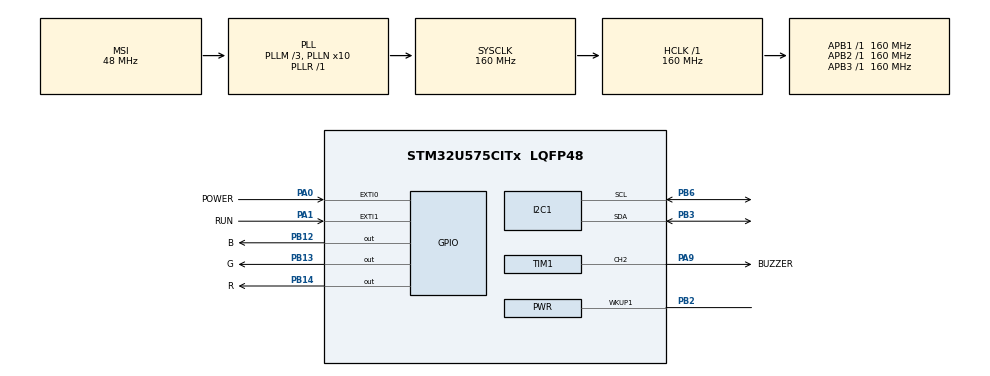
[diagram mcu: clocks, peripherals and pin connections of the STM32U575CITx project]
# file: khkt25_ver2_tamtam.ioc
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CORTEX_M33_NS.userName=CORTEX_M33
I2C1.Timing=0x30909DEC
Mcu.Family=STM32U5
Mcu.Name=STM32U575CITx
Mcu.Package=LQFP48
NVIC.EXTI0_IRQn=true\:0\:0\:false\:false\:true\:true\:true\:true
NVIC.EXTI1_IRQn=true\:0\:0\:false\:false\:true\:true\:true\:true
NVIC.PriorityGroup=NVIC_PRIORITYGROUP_4
PA0.GPIO_Label=POWER
PA0.GPIO_ModeDefaultEXTI=GPIO_MODE_IT_FALLING
PA0.GPIO_PuPd=GPIO_PULLDOWN
PA0.Signal=GPXTI0
PA1.GPIO_Label=RUN
PA1.GPIO_ModeDefaultEXTI=GPIO_MODE_IT_RISING_FALLING
PA1.GPIO_PuPd=GPIO_PULLDOWN
PA1.Signal=GPXTI1
PA13\ (JTMS/SWDIO).Mode=Serial_Wire
PA13\ (JTMS/SWDIO).Signal=DEBUG_JTMS-SWDIO
PA14\ (JTCK/SWCLK).Mode=Serial_Wire
PA14\ (JTCK/SWCLK).Signal=DEBUG_JTCK-SWCLK
PA9.GPIO_Label=BUZZER
PA9.Signal=S_TIM1_CH2
PB12.GPIO_Label=B
PB12.Signal=GPIO_Output
PB13.GPIO_Label=G
PB13.Signal=GPIO_Output
PB14.GPIO_Label=R
PB14.Signal=GPIO_Output
PB2.Mode=WakeUp1
PB2.Signal=PWR_WKUP1
PB3\ (JTDO/TRACESWO).GPIO_Pu=GPIO_PULLUP
PB3\ (JTDO/TRACESWO).Mode=I2C
PB3\ (JTDO/TRACESWO).Signal=I2C1_SDA
PB6.GPIO_Pu=GPIO_PULLUP
PB6.Mode=I2C
PB6.Signal=I2C1_SCL
PH0-OSC_IN\ (PH0).Mode=HSE-External-Oscillator
PH0-OSC_IN\ (PH0).Signal=RCC_OSC_IN
PH1-OSC_OUT\ (PH1).Mode=HSE-External-Oscillator
PH1-OSC_OUT\ (PH1).Signal=RCC_OSC_OUT
ProjectManager.HeapSize=0x200
ProjectManager.StackSize=0x400
ProjectManager.TargetToolchain=STM32CubeIDE
RCC.ADCCLockSelection=RCC_ADCDACCLKSOURCE_PLL2
RCC.ADCFreq_Value=160000000
RCC.AHBFreq_Value=160000000
RCC.APB1Freq_Value=160000000
RCC.APB1TimFreq_Value=160000000
RCC.APB2Freq_Value=160000000
RCC.APB2TimFreq_Value=160000000
RCC.APB3Freq_Value=160000000
RCC.CortexFreq_Value=160000000
RCC.EPOD_VALUE=48000000
RCC.HCLKFreq_Value=160000000
RCC.HSE_VALUE=16000000
RCC.HSI48_VALUE=48000000
RCC.HSI_VALUE=16000000
RCC.LSE_VALUE=32768
RCC.LSIDIV_VALUE=32000
RCC.MSIClockRange=RCC_MSIRANGE_0
RCC.MSI_VALUE=48000000
RCC.PLL1R=1
RCC.PLL2M=3
RCC.PLL2N=20
RCC.PLLM=3
RCC.PLLN=10
RCC.PWR_Regulator_Voltage_Scale=PWR_REGULATOR_VOLTAGE_SCALE1
RCC.SYSCLKFreq_VALUE=160000000
RCC.SYSCLKSource=RCC_SYSCLKSOURCE_PLLCLK
RCC.USBFreq_Value=48000000
RCC.VCOOutputFreq_Value=160000000
SH.S_TIM1_CH2.0=TIM1_CH2,PWM Generation2 CH2
STMicroelectronics.X-CUBE-AI.10.2.0.ActivationBufferSizeList=2268
STMicroelectronics.X-CUBE-AI.10.2.0.ActivationBuffers=pool0
STMicroelectronics.X-CUBE-AI.10.2.0.ActivationNames=pool0
STMicroelectronics.X-CUBE-AI.10.2.0.ActivationSizes=AI_NETWORKK_DATA_ACTIVATION_1_SIZE
STMicroelectronics.X-CUBE-AI.10.2.0.HeapSize=0x800
STMicroelectronics.X-CUBE-AI.10.2.0.InternalRamActivationBufferMaxSize=AI_NETWORKK_DATA_ACTIVATIONS_SIZE
STMicroelectronics.X-CUBE-AI.10.2.0.MaximumNumberOfInputLayer=1
STMicroelectronics.X-CUBE-AI.10.2.0.MaximumNumberOfOutputLayer=1
STMicroelectronics.X-CUBE-AI.10.2.0.MaximumSizeOfInputLayer=1
STMicroelectronics.X-CUBE-AI.10.2.0.MaximumSizeOfOutputLayer=1
STMicroelectronics.X-CUBE-AI.10.2.0.ModelActualCompression-3e6ffd56187ec1992c0261529449ebd6a3714990face748035e9838d4d3f0c0f=0.0
STMicroelectronics.X-CUBE-AI.10.2.0.ModelCompression-3e6ffd56187ec1992c0261529449ebd6a3714990face748035e9838d4d3f0c0f=None
STMicroelectronics.X-CUBE-AI.10.2.0.ModelFlashOccupation-3e6ffd56187ec1992c0261529449ebd6a3714990face748035e9838d4d3f0c0f=9360
STMicroelectronics.X-CUBE-AI.10.2.0.ModelHashList=3e6ffd56187ec1992c0261529449ebd6a3714990face748035e9838d4d3f0c0f
STMicroelectronics.X-CUBE-AI.10.2.0.ModelKind-3e6ffd56187ec1992c0261529449ebd6a3714990face748035e9838d4d3f0c0f=KERAS
STMicroelectronics.X-CUBE-AI.10.2.0.ModelMacc-3e6ffd56187ec1992c0261529449ebd6a3714990face748035e9838d4d3f0c0f=67
STMicroelectronics.X-CUBE-AI.10.2.0.ModelName-3e6ffd56187ec1992c0261529449ebd6a3714990face748035e9838d4d3f0c0f=networkk
STMicroelectronics.X-CUBE-AI.10.2.0.ModelNameList=networkk
STMicroelectronics.X-CUBE-AI.10.2.0.ModelRamOccupation-3e6ffd56187ec1992c0261529449ebd6a3714990face748035e9838d4d3f0c0f=2268
STMicroelectronics.X-CUBE-AI.10.2.0.ModelStructureFile-3e6ffd56187ec1992c0261529449ebd6a3714990face748035e9838d4d3f0c0f=D\:\\autoencoder_model.keras
STMicroelectronics.X-CUBE-AI.10.2.0.ModelType-3e6ffd56187ec1992c0261529449ebd6a3714990face748035e9838d4d3f0c0f=STM32Cube.AI MCU runtime
STMicroelectronics.X-CUBE-AI.10.2.0.ReadyForCodeGeneration=true
STMicroelectronics.X-CUBE-AI.10.2.0.StackSize=0x800
STMicroelectronics.X-CUBE-AI.10.2.0.WorkingBufferStartAddrList=0xFFFFFFFF
STMicroelectronics.X-CUBE-AI.10.2.0.XAaCUBEAaAICcArtificialOoIntelligenceJjCore=true
STMicroelectronics.X-CUBE-AI.10.2.0.copyWeightToRam-3e6ffd56187ec1992c0261529449ebd6a3714990face748035e9838d4d3f0c0f=false
STMicroelectronics.X-CUBE-AI.10.2.0.customLayerConfigEnabled-3e6ffd56187ec1992c0261529449ebd6a3714990face748035e9838d4d3f0c0f=false
STMicroelectronics.X-CUBE-AI.10.2.0.noOnnxIoTranspose-3e6ffd56187ec1992c0261529449ebd6a3714990face748035e9838d4d3f0c0f=false
STMicroelectronics.X-CUBE-AI.10.2.0.useInputAllocation-3e6ffd56187ec1992c0261529449ebd6a3714990face748035e9838d4d3f0c0f=true
STMicroelectronics.X-CUBE-AI.10.2.0.useOutputAllocation-3e6ffd56187ec1992c0261529449ebd6a3714990face748035e9838d4d3f0c0f=true
TIM1.Channel-PWM\ Generation2\ CH2=TIM_CHANNEL_2
TIM1.PeriodNoDither=20
TIM1.Prescaler=127
TIM16.Prescaler=80 - 1
VP_ICACHE_VS_ICACHE.Mode=DefaultMode
VP_LPBAMQUEUE_VS_QUEUE.Mode=QUEUEMODE
VP_LPBAM_VS_SIG1.Mode=SmartRun
VP_LPBAM_VS_SIG4.Mode=LPDMA1
VP_MEMORYMAP_VS_MEMORYMAP.Mode=CurAppReg
VP_PWR_VS_SECSignals.Mode=Security/Privilege
VP_STMicroelectronics.X-CUBE-AI_VS_ArtificialOoIntelligenceJjXAaCUBEAaAI_10.2.0.Mode=ArtificialOoIntelligenceJjXAaCUBEAaAI
VP_TIM16_VS_ClockSourceINT.Mode=Enable_Timer
VP_TIM1_VS_ClockSourceINT.Mode=Internal
board=custom

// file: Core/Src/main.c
/* USER CODE BEGIN Header */
/**
  ******************************************************************************
  * @file           : main.c
  * @brief          : Main program body
  ******************************************************************************
  * @attention
  *
  * Copyright (c) 2025 STMicroelectronics.
  * All rights reserved.
  *
  * This software is licensed under terms that can be found in the LICENSE file
  * in the root directory of this software component.
  * If no LICENSE file comes with this software, it is provided AS-IS.
  *
  ******************************************************************************
  */
/* USER CODE END Header */
#include "main.h"

/* USER CODE BEGIN Includes */
#include "stm32u5xx_hal.h"
#include <stdio.h>
#include <math.h>
#include <string.h>

#include "user_ai.h"
#include "user_mlx.h"

#include "anomaly_detector.h"
/* USER CODE END Includes */

/* USER CODE BEGIN PD */
//#define MAX_BUFFER 50
#define BUZZER_CHANNEL TIM_CHANNEL_2
#define CYCLE 100

//#define Z_THRESHOLD 1.35
//#define MIN_VALUES 10
/* USER CODE END PD */

I2C_HandleTypeDef hi2c1;

TIM_HandleTypeDef htim1;
TIM_HandleTypeDef htim16;

/* USER CODE BEGIN PV */
double temp;

uint32_t timerr, timerr1, timerr2;
int request_stop2 = 1;
int count = 0;

RealTimeAnomalyDetector gDetector;
DetectionResult         gLastResult;
DetectorStatistics      gStats;
/* USER CODE END PV */

void SystemClock_Config(void);
static void MX_GPIO_Init(void);
static void MX_I2C1_Init(void);
static void MX_ICACHE_Init(void);
static void MX_TIM1_Init(void);
static void MX_TIM16_Init(void);
/* USER CODE BEGIN PFP */
void notify(DetectorStatus state) {
	if (state == DETECTOR_ANOMALY) {
	  HAL_TIM_PWM_Start(&htim1, BUZZER_CHANNEL);
	  __HAL_TIM_SET_AUTORELOAD(&htim1, 500);	// frequency - pitch
	  __HAL_TIM_SET_COMPARE(&htim1,BUZZER_CHANNEL, 100); // duty cycle - volume // 0~999 → 20%

      __HAL_TIM_MOE_ENABLE(&htim1);   // <<< THIẾU DÒNG NÀY

	  HAL_GPIO_WritePin(GPIOB, G_Pin | B_Pin, GPIO_PIN_RESET);
	  HAL_GPIO_WritePin(GPIOB, R_Pin, GPIO_PIN_SET);
	}
	/*else if (state == DETECTOR_NORMAL) {
	  __HAL_TIM_SET_COMPARE(&htim1,BUZZER_CHANNEL, 0);
	  HAL_GPIO_WritePin(GPIOB, R_Pin | B_Pin, GPIO_PIN_RESET);
	  HAL_GPIO_WritePin(GPIOB, G_Pin, GPIO_PIN_SET);
	}*/
	else if (state == DETECTOR_TRAINING) {
	  __HAL_TIM_SET_COMPARE(&htim1,BUZZER_CHANNEL, 0);
	  HAL_GPIO_WritePin(GPIOB, R_Pin|G_Pin, GPIO_PIN_RESET);
	  HAL_GPIO_WritePin(GPIOB, B_Pin, GPIO_PIN_SET);
	}
	else {
	  __HAL_TIM_SET_COMPARE(&htim1,BUZZER_CHANNEL, 0);
	  HAL_GPIO_WritePin(GPIOB, G_Pin, GPIO_PIN_SET);
	  HAL_GPIO_WritePin(GPIOB, R_Pin| B_Pin, GPIO_PIN_RESET);
	}
}
/* USER CODE END PFP */

/* USER CODE BEGIN 0 */
void HAL_GPIO_EXTI_Falling_Callback(uint16_t GPIO_Pin) {	// Shut down EXTI
  if (GPIO_Pin == POWER_Pin) {
	  if (HAL_GetTick() - timerr1 > 100) {
	  	  HAL_GPIO_WritePin(GPIOB, R_Pin | G_Pin | B_Pin, GPIO_PIN_RESET);
		  __HAL_RCC_PWR_CLK_ENABLE();
		  __HAL_PWR_CLEAR_FLAG(PWR_WAKEUP_ALL_FLAG);
		  HAL_PWR_EnableWakeUpPin(PWR_WAKEUP_PIN1_LOW_0);
		  HAL_PWREx_EnterSHUTDOWNMode();
	  }
  }
  if (GPIO_Pin == RUN_Pin) {							// RUN -> GREEN
      	  HAL_ResumeTick();
	  	  HAL_GPIO_WritePin(GPIOB, R_Pin | G_Pin, GPIO_PIN_RESET);
	  	  HAL_GPIO_WritePin(GPIOB, B_Pin, GPIO_PIN_SET);
  }
}

void HAL_GPIO_EXTI_Rising_Callback(uint16_t GPIO_Pin) {// WAIT event
	if (GPIO_Pin == RUN_Pin) {
		if (HAL_GetTick() - timerr2 > 100) {
			request_stop2 = 1;
		}
	}
}
/* USER CODE END 0 */

int main(void)
{

  /* MCU Configuration--------------------------------------------------------*/

  /* Reset of all peripherals, Initializes the Flash interface and the Systick. */
  HAL_Init();

  /* Configure the system clock */
  SystemClock_Config();

  /* Initialize all configured peripherals */
  MX_GPIO_Init();
  MX_I2C1_Init();
  MX_ICACHE_Init();
  MX_TIM1_Init();
  MX_TIM16_Init();
  /* USER CODE BEGIN 2 */
  AI_Init();
  MLX_Init();
  Detector_Init(&gDetector);

  timerr = HAL_GetTick();
  timerr1 = HAL_GetTick();
  timerr2 = HAL_GetTick();
  /* USER CODE END 2 */

  /* Infinite loop */
  /* USER CODE BEGIN WHILE */
  while (1)
  {
	if (request_stop2) {								// WAIT -> YELLOW (~ R & G)
		if (HAL_GetTick() - timerr2 > CYCLE) {
			request_stop2 = 0;
			HAL_GPIO_WritePin(GPIOB, B_Pin, GPIO_PIN_RESET);
			HAL_GPIO_WritePin(GPIOB, R_Pin| G_Pin, GPIO_PIN_SET);
			Detector_Reset(&gDetector);
			__HAL_PWR_CLEAR_FLAG(PWR_WAKEUP_ALL_FLAG);
			HAL_SuspendTick();
			HAL_PWREx_EnterSTOP2Mode(PWR_STOPENTRY_WFI);

			/* WAKE UP */								// RUN -> GREEN
			SystemClock_Config();
			HAL_ResumeTick();
			HAL_GPIO_WritePin(GPIOB, R_Pin| B_Pin, GPIO_PIN_RESET);
			HAL_GPIO_WritePin(GPIOB, B_Pin, GPIO_PIN_SET);
			timerr2 = HAL_GetTick();
		}
	  }

	if (HAL_GetTick() - timerr > 500) {
		temp = MLX_Run();								// Get data from MLX90632
		if (temp > 20 && temp < 40) {
			Detector_AddValue(&gDetector, temp, &gLastResult);	// Notify
			Detector_GetStatistics(&gDetector, &gStats);
			notify(gLastResult.status);
		}
		timerr = HAL_GetTick();
	}
    /* USER CODE END WHILE */

  }
}

void SystemClock_Config(void)
{
  RCC_OscInitTypeDef RCC_OscInitStruct = {0};
  RCC_ClkInitTypeDef RCC_ClkInitStruct = {0};

  /** Configure the main internal regulator output voltage
  */
  if (HAL_PWREx_ControlVoltageScaling(PWR_REGULATOR_VOLTAGE_SCALE1) != HAL_OK)
  {
    Error_Handler();
  }

  /** Initializes the CPU, AHB and APB buses clocks
  */
  RCC_OscInitStruct.OscillatorType = RCC_OSCILLATORTYPE_MSI;
  RCC_OscInitStruct.MSIState = RCC_MSI_ON;
  RCC_OscInitStruct.MSICalibrationValue = RCC_MSICALIBRATION_DEFAULT;
  RCC_OscInitStruct.MSIClockRange = RCC_MSIRANGE_0;
  RCC_OscInitStruct.PLL.PLLState = RCC_PLL_ON;
  RCC_OscInitStruct.PLL.PLLSource = RCC_PLLSOURCE_MSI;
  RCC_OscInitStruct.PLL.PLLMBOOST = RCC_PLLMBOOST_DIV4;
  RCC_OscInitStruct.PLL.PLLM = 3;
  RCC_OscInitStruct.PLL.PLLN = 10;
  RCC_OscInitStruct.PLL.PLLP = 2;
  RCC_OscInitStruct.PLL.PLLQ = 2;
  RCC_OscInitStruct.PLL.PLLR = 1;
  RCC_OscInitStruct.PLL.PLLRGE = RCC_PLLVCIRANGE_1;
  RCC_OscInitStruct.PLL.PLLFRACN = 0;
  if (HAL_RCC_OscConfig(&RCC_OscInitStruct) != HAL_OK)
  {
    Error_Handler();
  }

  /** Initializes the CPU, AHB and APB buses clocks
  */
  RCC_ClkInitStruct.ClockType = RCC_CLOCKTYPE_HCLK|RCC_CLOCKTYPE_SYSCLK
                              |RCC_CLOCKTYPE_PCLK1|RCC_CLOCKTYPE_PCLK2
                              |RCC_CLOCKTYPE_PCLK3;
  RCC_ClkInitStruct.SYSCLKSource = RCC_SYSCLKSOURCE_PLLCLK;
  RCC_ClkInitStruct.AHBCLKDivider = RCC_SYSCLK_DIV1;
  RCC_ClkInitStruct.APB1CLKDivider = RCC_HCLK_DIV1;
  RCC_ClkInitStruct.APB2CLKDivider = RCC_HCLK_DIV1;
  RCC_ClkInitStruct.APB3CLKDivider = RCC_HCLK_DIV1;

  if (HAL_RCC_ClockConfig(&RCC_ClkInitStruct, FLASH_LATENCY_4) != HAL_OK)
  {
    Error_Handler();
  }
}

static void MX_I2C1_Init(void)
{

  hi2c1.Instance = I2C1;
  hi2c1.Init.Timing = 0x30909DEC;
  hi2c1.Init.OwnAddress1 = 0;
  hi2c1.Init.AddressingMode = I2C_ADDRESSINGMODE_7BIT;
  hi2c1.Init.DualAddressMode = I2C_DUALADDRESS_DISABLE;
  hi2c1.Init.OwnAddress2 = 0;
  hi2c1.Init.OwnAddress2Masks = I2C_OA2_NOMASK;
  hi2c1.Init.GeneralCallMode = I2C_GENERALCALL_DISABLE;
  hi2c1.Init.NoStretchMode = I2C_NOSTRETCH_DISABLE;
  if (HAL_I2C_Init(&hi2c1) != HAL_OK)
  {
    Error_Handler();
  }

  /** Configure Analogue filter
  */
  if (HAL_I2CEx_ConfigAnalogFilter(&hi2c1, I2C_ANALOGFILTER_ENABLE) != HAL_OK)
  {
    Error_Handler();
  }

  /** Configure Digital filter
  */
  if (HAL_I2CEx_ConfigDigitalFilter(&hi2c1, 0) != HAL_OK)
  {
    Error_Handler();
  }

}

static void MX_ICACHE_Init(void)
{

  /** Enable instruction cache (default 2-ways set associative cache)
  */
  if (HAL_ICACHE_Enable() != HAL_OK)
  {
    Error_Handler();
  }

}

static void MX_TIM1_Init(void)
{

  TIM_ClockConfigTypeDef sClockSourceConfig = {0};
  TIM_MasterConfigTypeDef sMasterConfig = {0};
  TIM_OC_InitTypeDef sConfigOC = {0};
  TIM_BreakDeadTimeConfigTypeDef sBreakDeadTimeConfig = {0};

  htim1.Instance = TIM1;
  htim1.Init.Prescaler = 127;
  htim1.Init.CounterMode = TIM_COUNTERMODE_UP;
  htim1.Init.Period = 20;
  htim1.Init.ClockDivision = TIM_CLOCKDIVISION_DIV1;
  htim1.Init.RepetitionCounter = 0;
  htim1.Init.AutoReloadPreload = TIM_AUTORELOAD_PRELOAD_DISABLE;
  if (HAL_TIM_Base_Init(&htim1) != HAL_OK)
  {
    Error_Handler();
  }
  sClockSourceConfig.ClockSource = TIM_CLOCKSOURCE_INTERNAL;
  if (HAL_TIM_ConfigClockSource(&htim1, &sClockSourceConfig) != HAL_OK)
  {
    Error_Handler();
  }
  if (HAL_TIM_PWM_Init(&htim1) != HAL_OK)
  {
    Error_Handler();
  }
  sMasterConfig.MasterOutputTrigger = TIM_TRGO_RESET;
  sMasterConfig.MasterOutputTrigger2 = TIM_TRGO2_RESET;
  sMasterConfig.MasterSlaveMode = TIM_MASTERSLAVEMODE_DISABLE;
  if (HAL_TIMEx_MasterConfigSynchronization(&htim1, &sMasterConfig) != HAL_OK)
  {
    Error_Handler();
  }
  sConfigOC.OCMode = TIM_OCMODE_PWM1;
  sConfigOC.Pulse = 0;
  sConfigOC.OCPolarity = TIM_OCPOLARITY_HIGH;
  sConfigOC.OCNPolarity = TIM_OCNPOLARITY_HIGH;
  sConfigOC.OCFastMode = TIM_OCFAST_DISABLE;
  sConfigOC.OCIdleState = TIM_OCIDLESTATE_RESET;
  sConfigOC.OCNIdleState = TIM_OCNIDLESTATE_RESET;
  if (HAL_TIM_PWM_ConfigChannel(&htim1, &sConfigOC, TIM_CHANNEL_2) != HAL_OK)
  {
    Error_Handler();
  }
  sBreakDeadTimeConfig.OffStateRunMode = TIM_OSSR_DISABLE;
  sBreakDeadTimeConfig.OffStateIDLEMode = TIM_OSSI_DISABLE;
  sBreakDeadTimeConfig.LockLevel = TIM_LOCKLEVEL_OFF;
  sBreakDeadTimeConfig.DeadTime = 0;
  sBreakDeadTimeConfig.BreakState = TIM_BREAK_DISABLE;
  sBreakDeadTimeConfig.BreakPolarity = TIM_BREAKPOLARITY_HIGH;
  sBreakDeadTimeConfig.BreakFilter = 0;
  sBreakDeadTimeConfig.BreakAFMode = TIM_BREAK_AFMODE_INPUT;
  sBreakDeadTimeConfig.Break2State = TIM_BREAK2_DISABLE;
  sBreakDeadTimeConfig.Break2Polarity = TIM_BREAK2POLARITY_HIGH;
  sBreakDeadTimeConfig.Break2Filter = 0;
  sBreakDeadTimeConfig.Break2AFMode = TIM_BREAK_AFMODE_INPUT;
  sBreakDeadTimeConfig.AutomaticOutput = TIM_AUTOMATICOUTPUT_DISABLE;
  if (HAL_TIMEx_ConfigBreakDeadTime(&htim1, &sBreakDeadTimeConfig) != HAL_OK)
  {
    Error_Handler();
  }
  HAL_TIM_MspPostInit(&htim1);

}

static void MX_TIM16_Init(void)
{

  htim16.Instance = TIM16;
  htim16.Init.Prescaler = 80 - 1;
  htim16.Init.CounterMode = TIM_COUNTERMODE_UP;
  htim16.Init.Period = 65535;
  htim16.Init.ClockDivision = TIM_CLOCKDIVISION_DIV1;
  htim16.Init.RepetitionCounter = 0;
  htim16.Init.AutoReloadPreload = TIM_AUTORELOAD_PRELOAD_DISABLE;
  if (HAL_TIM_Base_Init(&htim16) != HAL_OK)
  {
    Error_Handler();
  }

}

static void MX_GPIO_Init(void)
{
  GPIO_InitTypeDef GPIO_InitStruct = {0};

  /* GPIO Ports Clock Enable */
  __HAL_RCC_GPIOH_CLK_ENABLE();
  __HAL_RCC_GPIOA_CLK_ENABLE();
  __HAL_RCC_GPIOB_CLK_ENABLE();

  /*Configure GPIO pin Output Level */
  HAL_GPIO_WritePin(GPIOB, B_Pin|G_Pin|R_Pin, GPIO_PIN_RESET);

  /*Configure GPIO pin : POWER_Pin */
  GPIO_InitStruct.Pin = POWER_Pin;
  GPIO_InitStruct.Mode = GPIO_MODE_IT_FALLING;
  GPIO_InitStruct.Pull = GPIO_PULLDOWN;
  HAL_GPIO_Init(POWER_GPIO_Port, &GPIO_InitStruct);

  /*Configure GPIO pin : RUN_Pin */
  GPIO_InitStruct.Pin = RUN_Pin;
  GPIO_InitStruct.Mode = GPIO_MODE_IT_RISING_FALLING;
  GPIO_InitStruct.Pull = GPIO_PULLDOWN;
  HAL_GPIO_Init(RUN_GPIO_Port, &GPIO_InitStruct);

  /*Configure GPIO pins : B_Pin G_Pin R_Pin */
  GPIO_InitStruct.Pin = B_Pin|G_Pin|R_Pin;
  GPIO_InitStruct.Mode = GPIO_MODE_OUTPUT_PP;
  GPIO_InitStruct.Pull = GPIO_NOPULL;
  GPIO_InitStruct.Speed = GPIO_SPEED_FREQ_LOW;
  HAL_GPIO_Init(GPIOB, &GPIO_InitStruct);

  /* EXTI interrupt init*/
  HAL_NVIC_SetPriority(EXTI0_IRQn, 0, 0);
  HAL_NVIC_EnableIRQ(EXTI0_IRQn);

  HAL_NVIC_SetPriority(EXTI1_IRQn, 0, 0);
  HAL_NVIC_EnableIRQ(EXTI1_IRQn);

}

void Error_Handler(void)
{
  __disable_irq();
  while (1)
  {
  }
}
